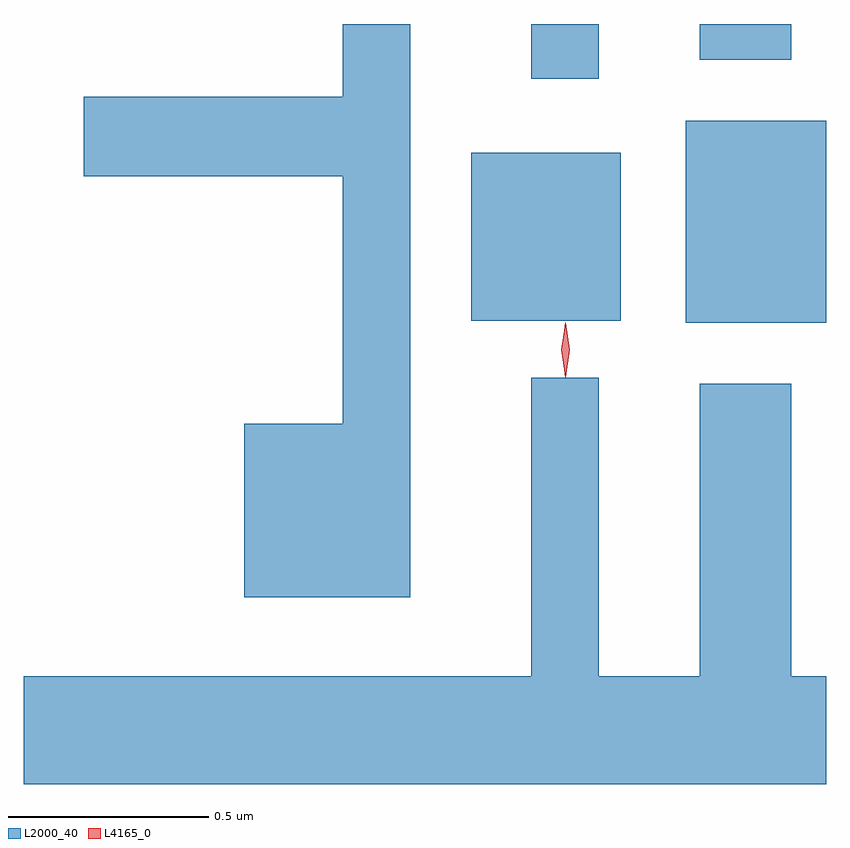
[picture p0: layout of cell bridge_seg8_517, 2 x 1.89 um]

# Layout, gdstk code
import gdstk
lib = gdstk.Library(unit=1e-6, precision=1e-09)
def R(c, l, rs):  # rectangles x0, y0, x1, y1
    for r in rs: c.add(gdstk.rectangle(r[:2], r[2:], *l))
def P(c, l, *ps):  # polygons
    for p in ps: c.add(gdstk.Polygon(p, *l))
L2000_40 = (2000, 40)
L4165_0 = (4165, 0)

bridge_seg8_517 = lib.new_cell('bridge_seg8_517')
R(bridge_seg8_517, L2000_40, [(322.956,1870.866,323.306,1871.369), (322.421,1870.871,322.794,1871.289), (322.571,1871.473,322.739,1871.61), (322.991,1871.521,323.219,1871.61)])
P(bridge_seg8_517, L2000_40, [(322.269,1871.61),(322.101,1871.61),(322.101,1871.429),(321.456,1871.429),(321.456,1871.231),(322.101,1871.231),(322.101,1870.614),(321.856,1870.614),(321.856,1870.181),(322.269,1870.181)],
  [(323.306,1869.984),(323.219,1869.984),(323.219,1870.714),(322.991,1870.714),(322.991,1869.984),(322.739,1869.984),(322.739,1870.728),(322.571,1870.728),(322.571,1869.984),(321.306,1869.984),(321.306,1869.716),(323.306,1869.716)])
P(bridge_seg8_517, L4165_0, [(322.656,1870.73),(322.647,1870.798),(322.656,1870.866),(322.657,1870.866),(322.657,1870.866),(322.667,1870.798),(322.657,1870.73),(322.657,1870.73)],
  [(322.656,1870.733),(322.656,1870.733),(322.646,1870.798),(322.656,1870.861),(322.656,1870.862),(322.657,1870.861),(322.666,1870.798),(322.657,1870.733)])

lib.write_gds('bridge_seg8_517.gds')
